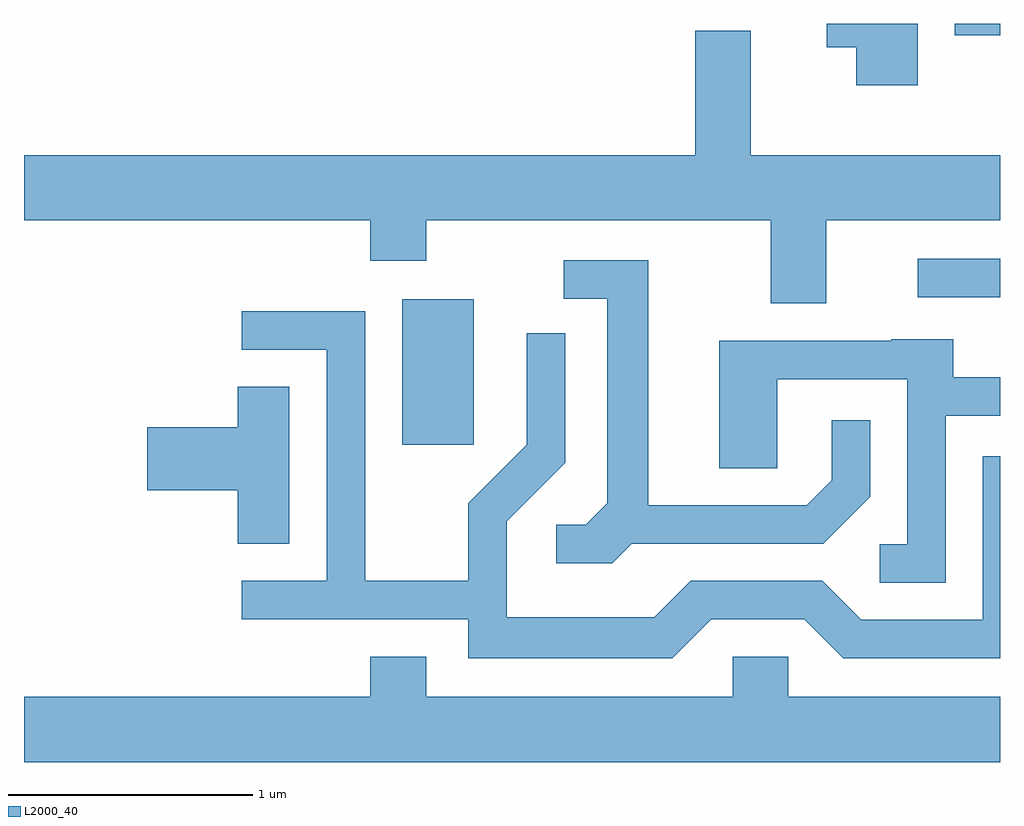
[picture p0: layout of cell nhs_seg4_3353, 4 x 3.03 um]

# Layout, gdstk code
import gdstk
lib = gdstk.Library(unit=1e-6, precision=1e-09)
def R(c, l, rs):  # rectangles x0, y0, x1, y1
    for r in rs: c.add(gdstk.rectangle(r[:2], r[2:], *l))
def P(c, l, *ps):  # polygons
    for p in ps: c.add(gdstk.Polygon(p, *l))
L2000_40 = (2000, 40)

nhs_seg4_3353 = lib.new_cell('nhs_seg4_3353')
R(nhs_seg4_3353, L2000_40, [(285.161,1298.256,285.454,1298.854), (287.273,1298.861,287.611,1299.019), (287.426,1299.936,287.611,1299.982)])
P(nhs_seg4_3353, L2000_40, [(287.274,1299.982),(286.901,1299.982),(286.901,1299.886),(287.021,1299.886),(287.021,1299.731),(287.274,1299.731)],
  [(286.899,1299.176),(287.611,1299.176),(287.611,1299.444),(286.589,1299.444),(286.589,1299.954),(286.361,1299.954),(286.361,1299.444),(283.611,1299.444),(283.611,1299.176),(285.031,1299.176),(285.031,1299.011),(285.259,1299.011),(285.259,1299.176),(286.671,1299.176),(286.671,1298.836),(286.899,1298.836)],
  [(286.102,1297.851),(286.887,1297.851),(287.079,1298.044),(287.079,1298.358),(286.921,1298.358),(286.921,1298.112),(286.819,1298.009),(286.169,1298.009),(286.169,1299.014),(285.823,1299.014),(285.823,1298.856),(286.001,1298.856),(286.001,1298.017),(285.914,1297.929),(285.793,1297.929),(285.793,1297.771),(286.022,1297.771)],
  [(286.427,1297.541),(286.809,1297.541),(286.969,1297.381),(287.611,1297.381),(287.611,1298.209),(287.541,1298.209),(287.541,1297.539),(287.042,1297.539),(286.882,1297.699),(286.344,1297.699),(286.194,1297.549),(285.589,1297.549),(285.589,1297.944),(285.829,1298.184),(285.829,1298.713),(285.671,1298.713),(285.671,1298.257),(285.431,1298.017),(285.431,1297.699),(285.009,1297.699),(285.009,1298.804),(284.503,1298.804),(284.503,1298.646),(284.851,1298.646),(284.851,1297.699),(284.503,1297.699),(284.503,1297.541),(285.431,1297.541),(285.431,1297.381),(286.267,1297.381)],
  [(287.389,1298.376),(287.611,1298.376),(287.611,1298.534),(287.419,1298.534),(287.419,1298.689),(287.165,1298.689),(287.165,1298.684),(286.461,1298.684),(286.461,1298.161),(286.699,1298.161),(286.699,1298.526),(287.231,1298.526),(287.231,1297.849),(287.118,1297.849),(287.118,1297.691),(287.389,1297.691)],
  [(284.699,1298.494),(284.486,1298.494),(284.486,1298.329),(284.116,1298.329),(284.116,1298.071),(284.486,1298.071),(284.486,1297.851),(284.699,1297.851)],
  [(287.611,1297.224),(286.744,1297.224),(286.744,1297.389),(286.516,1297.389),(286.516,1297.224),(285.259,1297.224),(285.259,1297.389),(285.031,1297.389),(285.031,1297.224),(283.611,1297.224),(283.611,1296.956),(287.611,1296.956)])

lib.write_gds('nhs_seg4_3353.gds')
